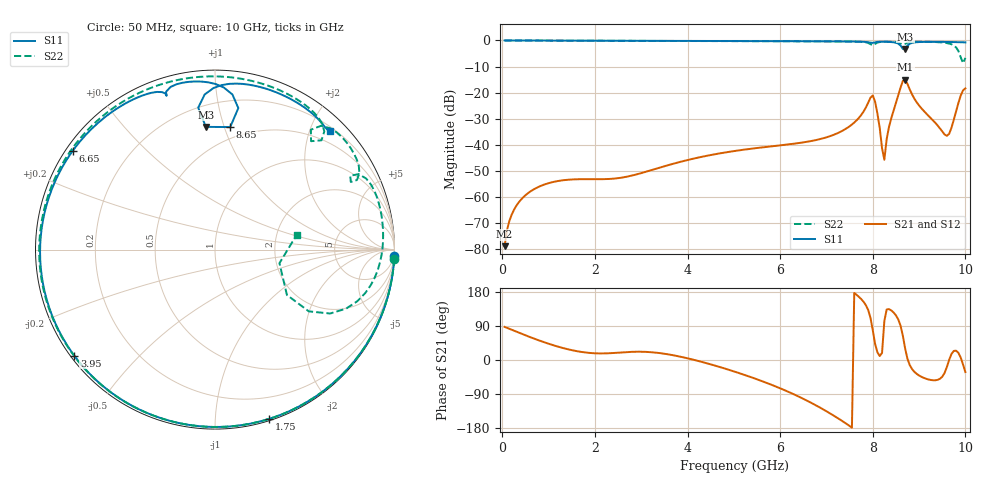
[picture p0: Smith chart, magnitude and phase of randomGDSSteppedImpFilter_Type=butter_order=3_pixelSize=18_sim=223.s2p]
! freq	dB(S11)	phase(S11)	dB(S12)	phase(S12)
!  dB(S21)	phase(S21)	dB(S22)	phase(S22)
!S-par simulation data
#  GHz  S  DB  R 50
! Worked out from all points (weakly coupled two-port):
!   200 points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, 50 MHz to 10 GHz, reference 50 ohm
!   highest |S21| = -15.03 dB at 8.7 GHz (marker M1); lowest = -78.9 dB at 50 MHz (marker M2)
!   lowest |S11| = -3.3 dB at 8.7 GHz (marker M3), VSWR 5.36, Z = 16.9 + j43.5 ohm
!   |S11| at or under -10 dB: nowhere
!   |S22| runs from -8.7 to 0.0 dB; largest |S21 - S12| = 0
!   S11 on the Smith chart (normalised r, x): 50 MHz: 0, -52; 1.75 GHz: 0.01, -1.37; 3.95 GHz: 0.01, -0.33; 6.65 GHz: 0.02, +0.31; 8.65 GHz: 0.40, +1.05; 10 GHz: 0.28, +2.34
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0.05  -0.00 -2.2  -78.87 87.4  -78.87 87.4  -0.00 -2.9
0.2  -0.01 -8.7  -66.91 79.9  -66.91 79.9  -0.02 -11.6
0.5  -0.03 -21.7  -59.35 65.2  -59.35 65.2  -0.04 -28.6
1.15  -0.06 -48.8  -54.07 37.2  -54.07 37.2  -0.08 -63.8
1.75  -0.09 -72.2  -53.18 20.6  -53.18 20.6  -0.10 -93.1
3.4  -0.14 -127.1  -48.76 18.2  -48.76 18.2  -0.16 -159.0
3.95  -0.16 -143.0  -46.06 5.9  -46.06 5.9  -0.18 -178.0
5.05  -0.21 -172.7  -42.29 -32.0  -42.29 -32.0  -0.22 145.9
6.65  -0.31 145.2  -38.63 -111.7  -38.63 -111.7  -0.30 93.3
6.7  -0.31 143.9  -38.46 -114.9  -38.46 -114.9  -0.30 91.6
7.5  -0.40 121.3  -32.91 -174.2  -32.91 -174.2  -0.39 63.8
8  -0.93 107.5  -21.09 78.4  -21.09 78.4  -1.86 48.4
8.1  -0.54 105.3  -28.00 20.4  -28.00 20.4  -0.83 49.4
8.25  -0.48 98.9  -45.75 102.8  -45.75 102.8  -0.49 41.4
8.35  -0.55 94.6  -33.18 134.3  -33.18 134.3  -0.50 36.8
8.65  -3.25 82.9  -15.49 63.7  -15.49 63.7  -1.46 26.5
8.7  -3.28 94.3  -15.03 29.6  -15.03 29.6  -1.32 28.6
8.9  -0.75 87.6  -22.37 -31.4  -22.37 -31.4  -0.48 20.2
9.6  -0.57 59.5  -36.56 -18.5  -36.56 -18.5  -1.01 -12.8
9.85  -0.69 50.3  -23.91 18.6  -23.91 18.6  -4.06 -33.4
9.95  -0.76 47.3  -19.10 -12.2  -19.10 -12.2  -8.71 -11.9
10  -0.74 45.8  -18.38 -32.0  -18.38 -32.0  -6.70 10.2
